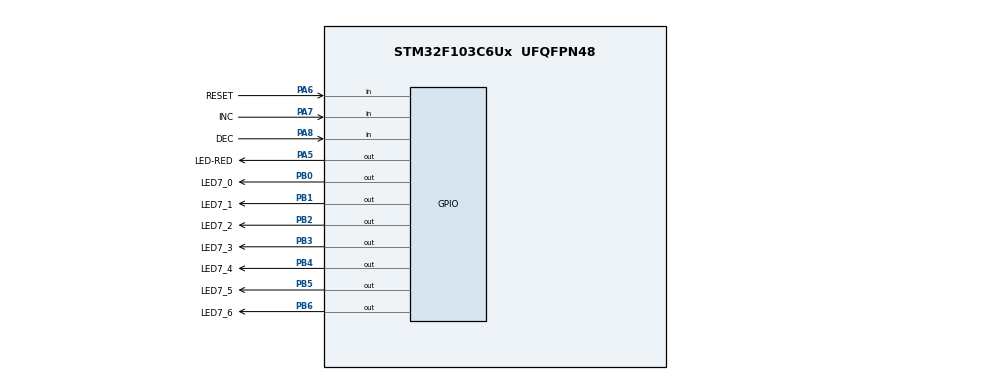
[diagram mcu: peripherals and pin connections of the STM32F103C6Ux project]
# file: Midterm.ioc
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Mcu.Family=STM32F1
Mcu.Name=STM32F103C6Ux
Mcu.Package=UFQFPN48
NVIC.PriorityGroup=NVIC_PRIORITYGROUP_4
NVIC.TIM2_IRQn=true\:0\:0\:false\:false\:true\:true\:true
PA5.GPIO_Label=LED-RED
PA5.Signal=GPIO_Output
PA6.GPIO_Label=RESET
PA6.GPIO_PuPd=GPIO_PULLUP
PA6.Signal=GPIO_Input
PA7.GPIO_Label=INC
PA7.GPIO_PuPd=GPIO_PULLUP
PA7.Signal=GPIO_Input
PA8.GPIO_Label=DEC
PA8.GPIO_PuPd=GPIO_PULLUP
PA8.Signal=GPIO_Input
PB0.GPIO_Label=LED7_0
PB0.Signal=GPIO_Output
PB1.GPIO_Label=LED7_1
PB1.Signal=GPIO_Output
PB2.GPIO_Label=LED7_2
PB2.Signal=GPIO_Output
PB3.GPIO_Label=LED7_3
PB3.Signal=GPIO_Output
PB4.GPIO_Label=LED7_4
PB4.Signal=GPIO_Output
PB5.GPIO_Label=LED7_5
PB5.Signal=GPIO_Output
PB6.GPIO_Label=LED7_6
PB6.Signal=GPIO_Output
ProjectManager.HeapSize=0x200
ProjectManager.StackSize=0x400
ProjectManager.TargetToolchain=STM32CubeIDE
RCC.APB1Freq_Value=8000000
RCC.APB2Freq_Value=8000000
TIM2.Period=10
TIM2.Prescaler=7999
VP_SYS_VS_ND.Mode=No_Debug
VP_TIM2_VS_ClockSourceINT.Mode=Internal
board=custom

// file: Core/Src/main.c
/* USER CODE BEGIN Header */
/**
  ******************************************************************************
  * @file           : main.c
  * @brief          : Main program body
  ******************************************************************************
  * @attention
  *
  * <h2><center>&copy; Copyright (c) 2022 STMicroelectronics.
  * All rights reserved.</center></h2>
  *
  * This software component is licensed by ST under BSD 3-Clause license,
  * the "License"; You may not use this file except in compliance with the
  * License. You may obtain a copy of the License at:
  *                        opensource.org/licenses/BSD-3-Clause
  *
  ******************************************************************************
  */
/* USER CODE END Header */
#include "main.h"

/* USER CODE BEGIN Includes */
#include "global.h"
#include "software_timer.h"
#include "button.h"
/* USER CODE END Includes */

TIM_HandleTypeDef htim2;

void SystemClock_Config(void);
static void MX_TIM2_Init(void);
static void MX_GPIO_Init(void);

int main(void)
{

  /* MCU Configuration--------------------------------------------------------*/

  /* Reset of all peripherals, Initializes the Flash interface and the Systick. */
  HAL_Init();

  /* Configure the system clock */
  SystemClock_Config();

  /* Initialize all configured peripherals */
  MX_TIM2_Init();
  MX_GPIO_Init();
  /* USER CODE BEGIN 2 */
  HAL_TIM_Base_Start_IT(&htim2);
  /* USER CODE END 2 */

  /* Infinite loop */
  /* USER CODE BEGIN WHILE */
  status=1;
  numberCounter=0;
  setTimer1(10000);//time out
  timer0_flag=1;
  while (1)
  {
    /* USER CODE END WHILE */
	  funcBlinkRed();
	 fsm_simple_buttons_run();

  }
}

void SystemClock_Config(void)
{
  RCC_OscInitTypeDef RCC_OscInitStruct = {0};
  RCC_ClkInitTypeDef RCC_ClkInitStruct = {0};

  /** Initializes the RCC Oscillators according to the specified parameters
  * in the RCC_OscInitTypeDef structure.
  */
  RCC_OscInitStruct.OscillatorType = RCC_OSCILLATORTYPE_HSI;
  RCC_OscInitStruct.HSIState = RCC_HSI_ON;
  RCC_OscInitStruct.HSICalibrationValue = RCC_HSICALIBRATION_DEFAULT;
  RCC_OscInitStruct.PLL.PLLState = RCC_PLL_NONE;
  if (HAL_RCC_OscConfig(&RCC_OscInitStruct) != HAL_OK)
  {
    Error_Handler();
  }
  /** Initializes the CPU, AHB and APB buses clocks
  */
  RCC_ClkInitStruct.ClockType = RCC_CLOCKTYPE_HCLK|RCC_CLOCKTYPE_SYSCLK
                              |RCC_CLOCKTYPE_PCLK1|RCC_CLOCKTYPE_PCLK2;
  RCC_ClkInitStruct.SYSCLKSource = RCC_SYSCLKSOURCE_HSI;
  RCC_ClkInitStruct.AHBCLKDivider = RCC_SYSCLK_DIV1;
  RCC_ClkInitStruct.APB1CLKDivider = RCC_HCLK_DIV1;
  RCC_ClkInitStruct.APB2CLKDivider = RCC_HCLK_DIV1;

  if (HAL_RCC_ClockConfig(&RCC_ClkInitStruct, FLASH_LATENCY_0) != HAL_OK)
  {
    Error_Handler();
  }
}

static void MX_TIM2_Init(void)
{

  TIM_ClockConfigTypeDef sClockSourceConfig = {0};
  TIM_MasterConfigTypeDef sMasterConfig = {0};

  htim2.Instance = TIM2;
  htim2.Init.Prescaler = 7999;
  htim2.Init.CounterMode = TIM_COUNTERMODE_UP;
  htim2.Init.Period = 10;
  htim2.Init.ClockDivision = TIM_CLOCKDIVISION_DIV1;
  htim2.Init.AutoReloadPreload = TIM_AUTORELOAD_PRELOAD_DISABLE;
  if (HAL_TIM_Base_Init(&htim2) != HAL_OK)
  {
    Error_Handler();
  }
  sClockSourceConfig.ClockSource = TIM_CLOCKSOURCE_INTERNAL;
  if (HAL_TIM_ConfigClockSource(&htim2, &sClockSourceConfig) != HAL_OK)
  {
    Error_Handler();
  }
  sMasterConfig.MasterOutputTrigger = TIM_TRGO_RESET;
  sMasterConfig.MasterSlaveMode = TIM_MASTERSLAVEMODE_DISABLE;
  if (HAL_TIMEx_MasterConfigSynchronization(&htim2, &sMasterConfig) != HAL_OK)
  {
    Error_Handler();
  }

}

static void MX_GPIO_Init(void)
{
  GPIO_InitTypeDef GPIO_InitStruct = {0};

  /* GPIO Ports Clock Enable */
  __HAL_RCC_GPIOA_CLK_ENABLE();
  __HAL_RCC_GPIOB_CLK_ENABLE();

  /*Configure GPIO pin Output Level */
  HAL_GPIO_WritePin(LED_RED_GPIO_Port, LED_RED_Pin, GPIO_PIN_RESET);

  /*Configure GPIO pin Output Level */
  HAL_GPIO_WritePin(GPIOB, LED7_0_Pin|LED7_1_Pin|LED7_2_Pin|LED7_3_Pin
                          |LED7_4_Pin|LED7_5_Pin|LED7_6_Pin, GPIO_PIN_RESET);

  /*Configure GPIO pin : LED_RED_Pin */
  GPIO_InitStruct.Pin = LED_RED_Pin;
  GPIO_InitStruct.Mode = GPIO_MODE_OUTPUT_PP;
  GPIO_InitStruct.Pull = GPIO_NOPULL;
  GPIO_InitStruct.Speed = GPIO_SPEED_FREQ_LOW;
  HAL_GPIO_Init(LED_RED_GPIO_Port, &GPIO_InitStruct);

  /*Configure GPIO pins : RESET_Pin INC_Pin DEC_Pin */
  GPIO_InitStruct.Pin = RESET_Pin|INC_Pin|DEC_Pin;
  GPIO_InitStruct.Mode = GPIO_MODE_INPUT;
  GPIO_InitStruct.Pull = GPIO_PULLUP;
  HAL_GPIO_Init(GPIOA, &GPIO_InitStruct);

  /*Configure GPIO pins : LED7_0_Pin LED7_1_Pin LED7_2_Pin LED7_3_Pin
                           LED7_4_Pin LED7_5_Pin LED7_6_Pin */
  GPIO_InitStruct.Pin = LED7_0_Pin|LED7_1_Pin|LED7_2_Pin|LED7_3_Pin
                          |LED7_4_Pin|LED7_5_Pin|LED7_6_Pin;
  GPIO_InitStruct.Mode = GPIO_MODE_OUTPUT_PP;
  GPIO_InitStruct.Pull = GPIO_NOPULL;
  GPIO_InitStruct.Speed = GPIO_SPEED_FREQ_LOW;
  HAL_GPIO_Init(GPIOB, &GPIO_InitStruct);

}

/* USER CODE BEGIN 4 */
void HAL_TIM_PeriodElapsedCallback(TIM_HandleTypeDef *htim){
	getKeyInput();
	runTimer0();
	runTimer1();
	runTimer2();
	runTimer3();
	runTimer4();
}
/* USER CODE END 4 */

void Error_Handler(void)
{
  __disable_irq();
  while (1)
  {
  }
}

/************************ (C) COPYRIGHT STMicroelectronics *****END OF FILE****/
